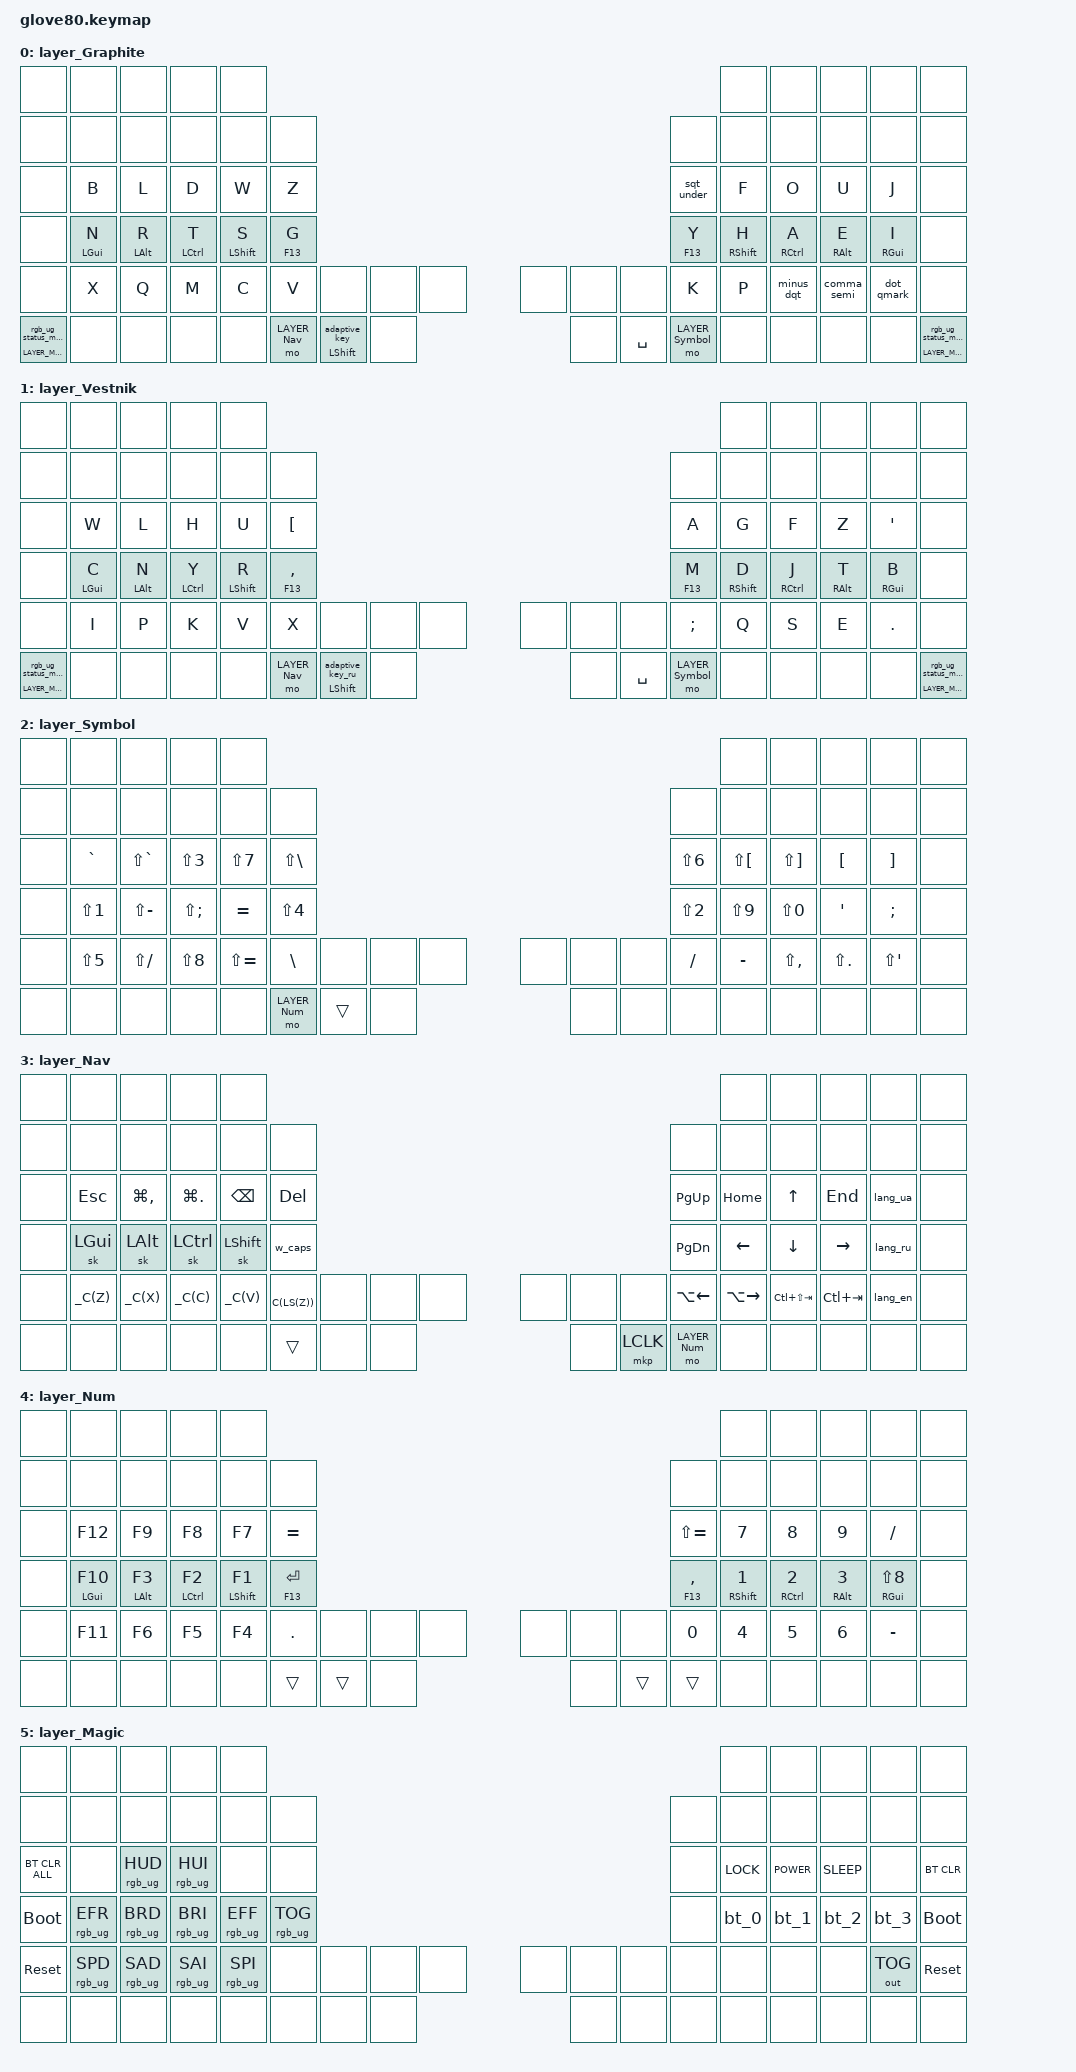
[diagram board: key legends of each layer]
/* Graphite + Vestnik — ZMK keymap. See README.md for full docs.
 *
 * Layers: Graphite(0) Vestnik(1) Symbol(2) Nav(3) Num(4) Magic(5)
 * HRM: GACS — GUI(pinky) ALT(ring) CTL(mid) SFT(index) F13(inner)
 * Mod-morphs: '→_  -→"  ,→;  .→?
 *
 * Config:
 *   #define BILATERAL         — positional hold-tap (opt-in)
 *   #define OPERATING_SYSTEM  — 1=linux 2=macos 3=windows
 *
 * Adaptive key (★) — left thumb (tap=★, hold=⇧), 300ms window, default: "
 *   SFBs:    R→L  G→S  U→E  E→U  S→C  H→Y  P→H  O→A  W→S  Y→H
 *   Suffixes: A→TION C→TION D→ITION F→Y I→ON J→UST L→ATION
 *             M→ENT N→ION Q→UEN T→MENT V→ER B→LE Z→ATION
 *   Other:   SPC→THE  .→./  /→block-comment  #→#include
 */

#include <behaviors.dtsi>
#include <dt-bindings/zmk/outputs.h>
#include <dt-bindings/zmk/keys.h>
#include <dt-bindings/zmk/bt.h>
#include <dt-bindings/zmk/rgb.h>

#define LAYER_Graphite 0
#define LAYER_Vestnik  1
#define LAYER_Symbol   2
#define LAYER_Nav      3
#define LAYER_Num      4
#define LAYER_Magic    5

#ifndef OPERATING_SYSTEM
#define OPERATING_SYSTEM 1 // 1=linux, 2=macos, 3=windows
#endif

#if OPERATING_SYSTEM == 2
    #define _C      LG
    #define _POWER  K_POWER
    #define _HOME   _C(LEFT)
    #define _END    _C(RIGHT)
    #define _LOCK   _C(LC(Q))
#elif OPERATING_SYSTEM == 1
    #define _C      LC
    #define _POWER  C_POWER
    #define _HOME   HOME
    #define _END    END
    #define _LOCK   K_LOCK
#elif OPERATING_SYSTEM == 3
    #define _C      LC
    #define _POWER  C_POWER
    #define _HOME   HOME
    #define _END    END
    #define _LOCK   LG(L)
#endif

#define _SLEEP C_SLEEP

// en-US shifted symbol overrides (skipped by keymap-drawer)
#ifndef KEYMAP_DRAWER
#undef AMPS
#undef AT
#undef CARET
#undef COLON
#undef DLLR
#undef DQT
#undef EXCL
#undef GT
#undef HASH
#undef LBRC
#undef LPAR
#undef LT
#undef PIPE
#undef PLUS
#undef PRCNT
#undef QMARK
#undef RBRC
#undef RPAR
#undef STAR
#undef TILDE
#undef UNDER
#define AMPS  LS(N7)
#define AT    LS(N2)
#define CARET LS(N6)
#define COLON LS(SEMI)
#define DLLR  LS(N4)
#define DQT   LS(SQT)
#define EXCL  LS(N1)
#define GT    LS(DOT)
#define HASH  LS(N3)
#define LBRC  LS(LBKT)
#define LPAR  LS(N9)
#define LT    LS(COMMA)
#define PIPE  LS(BSLH)
#define PLUS  LS(EQUAL)
#define PRCNT LS(N5)
#define QMARK LS(FSLH)
#define RBRC  LS(RBKT)
#define RPAR  LS(N0)
#define STAR  LS(N8)
#define TILDE LS(GRAVE)
#define UNDER LS(MINUS)
#endif

// Key position groups for positional hold-tap
#define KEYS_L 23 24 25 26 27  35 36 37 38 39  47 48 49 50 51
#define KEYS_R 28 29 30 31 32  40 41 42 43 44  58 59 60 61 62
#define THUMBS 69 70 73 74

// #define BILATERAL
#define ALPHA_LAYERS LAYER_Graphite LAYER_Vestnik
#define COMBO_TIMEOUT_MS 75

#define AK(name, k, b) \
    name { trigger-keys = <k>; max-prior-idle-ms = <300>; bindings = <b>; };

#include <zmk-helpers/helper.h>
#include <dt-bindings/zmk/mouse.h>

&sk {
    release-after-ms = <1200>;
    quick-release;
    ignore-modifiers;
};

/ {
    macros {
        rgb_ug_status_macro: rgb_ug_status_macro {
            label = "RGB_UG_STATUS";
            compatible = "zmk,behavior-macro";
            #binding-cells = <0>;
            bindings = <&rgb_ug RGB_STATUS>;
        };

        lang_en: lang_en {
            compatible = "zmk,behavior-macro";
            #binding-cells = <0>;
            bindings = <&to LAYER_Graphite>, <&kp LC(LS(LG(N1)))>;
        };

        lang_ru: lang_ru {
            compatible = "zmk,behavior-macro";
            #binding-cells = <0>;
            bindings = <&to LAYER_Vestnik>, <&kp LC(LS(LG(N2)))>;
        };

        lang_ua: lang_ua {
            compatible = "zmk,behavior-macro";
            #binding-cells = <0>;
            bindings = <&to LAYER_Vestnik>, <&kp LC(LS(LG(N3)))>;
        };

    };

    behaviors {
        adaptive_key: adaptive_key {
            compatible = "zmk,behavior-adaptive-key";
            #binding-cells = <0>;
            bindings = <&key_repeat>;
            // SFB fixes
            AK(ak_r, R, &kp L)       // rl 0.114%
            AK(ak_g, G, &kp S)       // gs 0.102%
            AK(ak_u, U, &kp E)       // ue 0.090%
            AK(ak_e, E, &kp U)       // eu
            AK(ak_s, S, &kp C)       // sc 0.087%
            AK(ak_h, H, &kp Y)       // hy 0.051%
            AK(ak_p, P, &kp H)       // ph
            AK(ak_f, F, &kp Y)       // fy
            AK(ak_o, O, &kp A)       // oa 0.042%
            AK(ak_w, W, &kp S)       // ws 0.042%
            AK(ak_y, Y, &kp H)       // yh
            // Completions
            AK(ak_a, A, &macro_tion)    // ation
            AK(ak_c, C, &macro_tion)    // ction
            AK(ak_d, D, &macro_ition)   // dition
            AK(ak_i, I, &macro_on)      // ion
            AK(ak_j, J, &macro_ust)     // just
            AK(ak_l, L, &macro_ation)   // lation
            AK(ak_m, M, &macro_ent)     // ment
            AK(ak_n, N, &macro_ion)     // nion
            AK(ak_q, Q, &macro_uen)     // quen
            AK(ak_t, T, &macro_ment)    // tment
            AK(ak_v, V, &macro_er)      // ver
            AK(ak_b, B, &macro_le)      // ble
            AK(ak_z, Z, &macro_ation)   // zation
            AK(ak_spc, SPACE, &macro_the)
            AK(ak_dot, DOT, &macro_dotslash)
            // Programming
            AK(ak_fslh, FSLH, &macro_block_comment)  // /★ → /* | */
            AK(ak_hash, HASH, &macro_include)         // #★ → #include
        };

        adaptive_key_ru: adaptive_key_ru {
            compatible = "zmk,behavior-adaptive-key";
            #binding-cells = <0>;
            bindings = <&key_repeat>;
            // SFB fixes (Vestnik finger conflicts)
            AK(ak_ru_h, H, &kp Y)    // Р★ → Н (рн 0.155%)
            AK(ak_ru_y, Y, &kp H)    // Н★ → Р (нр)
            AK(ak_ru_p, P, &kp L)    // З★ → Д (зд 0.115%)
            AK(ak_ru_x, X, &kp R)    // Ч★ → К (чк 0.072%)
            AK(ak_ru_k, K, &kp Y)    // Л★ → Н (лн 0.054%)
        };

        adaptive_shift: adaptive_shift {
            compatible = "zmk,behavior-hold-tap";
            label = "ADAPTIVE_SHIFT";
            #binding-cells = <2>;
            flavor = "balanced";
            tapping-term-ms = <200>;
            bindings = <&kp>, <&adaptive_key>;
        };

        adaptive_shift_ru: adaptive_shift_ru {
            compatible = "zmk,behavior-hold-tap";
            label = "ADAPTIVE_SHIFT_RU";
            #binding-cells = <2>;
            flavor = "balanced";
            tapping-term-ms = <200>;
            bindings = <&kp>, <&adaptive_key_ru>;
        };

        magic: magic {
            compatible = "zmk,behavior-hold-tap";
            label = "MAGIC_HOLD_TAP";
            #binding-cells = <2>;
            flavor = "tap-preferred";
            tapping-term-ms = <200>;
            bindings = <&mo>, <&rgb_ug_status_macro>;
        };

        hml: home_row_mod_left {
            compatible = "zmk,behavior-hold-tap";
            label = "HOME_ROW_MOD_LEFT";
            #binding-cells = <2>;
            flavor = "balanced";
            tapping-term-ms = <280>;
            quick-tap-ms = <175>;
            require-prior-idle-ms = <150>;
#ifdef BILATERAL
            hold-trigger-key-positions = <KEYS_R THUMBS>;
            hold-trigger-on-release;
#endif
            bindings = <&kp>, <&kp>;
        };

        hmr: home_row_mod_right {
            compatible = "zmk,behavior-hold-tap";
            label = "HOME_ROW_MOD_RIGHT";
            #binding-cells = <2>;
            flavor = "balanced";
            tapping-term-ms = <280>;
            quick-tap-ms = <175>;
            require-prior-idle-ms = <150>;
#ifdef BILATERAL
            hold-trigger-key-positions = <KEYS_L THUMBS>;
            hold-trigger-on-release;
#endif
            bindings = <&kp>, <&kp>;
        };

        w_caps: capsword_and_capslock {
            compatible = "zmk,behavior-mod-morph";
            label = "CAPSWORD_AND_CAPSLOCK";
            #binding-cells = <0>;
            bindings = <&caps_word>, <&kp CAPS>;
            mods = <(MOD_LSFT|MOD_RSFT)>;
        };

        sqt_under: sqt_and_under {
            compatible = "zmk,behavior-mod-morph";
            label = "SQT_AND_UNDER";
            #binding-cells = <0>;
            bindings = <&kp SQT>, <&kp UNDER>;
            mods = <(MOD_LSFT|MOD_RSFT)>;
        };

        minus_dqt: minus_and_dqt {
            compatible = "zmk,behavior-mod-morph";
            label = "MINUS_AND_DQT";
            #binding-cells = <0>;
            bindings = <&kp MINUS>, <&kp DQT>;
            mods = <(MOD_LSFT|MOD_RSFT)>;
        };

        comma_semi: comma_and_semi {
            compatible = "zmk,behavior-mod-morph";
            label = "COMMA_AND_SEMI";
            #binding-cells = <0>;
            bindings = <&kp COMMA>, <&kp SEMI>;
            mods = <(MOD_LSFT|MOD_RSFT)>;
        };

        dot_qmark: dot_and_qmark {
            compatible = "zmk,behavior-mod-morph";
            label = "DOT_AND_QMARK";
            #binding-cells = <0>;
            bindings = <&kp DOT>, <&kp QMARK>;
            mods = <(MOD_LSFT|MOD_RSFT)>;
        };

        bspc_del: bspc_and_del {
            compatible = "zmk,behavior-mod-morph";
            #binding-cells = <0>;
            bindings = <&kp BSPC>, <&kp DEL>;
            mods = <(MOD_LSFT|MOD_RSFT)>;
        };

        behavior_caps_word {
            continue-list = <
                UNDERSCORE MINUS
                BACKSPACE DELETE
                N1 N2 N3 N4 N5 N6 N7 N8 N9 N0
            >;
        };
    };
};

// Fast macros (zmk-helpers handles #binding-cells)
ZMK_MACRO(macro_tion,          wait-ms = <0>; tap-ms = <0>; bindings = <&kp T>, <&kp I>, <&kp O>, <&kp N>;)
ZMK_MACRO(macro_ition,         wait-ms = <0>; tap-ms = <0>; bindings = <&kp I>, <&kp T>, <&kp I>, <&kp O>, <&kp N>;)
ZMK_MACRO(macro_ation,         wait-ms = <0>; tap-ms = <0>; bindings = <&kp A>, <&kp T>, <&kp I>, <&kp O>, <&kp N>;)
ZMK_MACRO(macro_on,            wait-ms = <0>; tap-ms = <0>; bindings = <&kp O>, <&kp N>;)
ZMK_MACRO(macro_ion,           wait-ms = <0>; tap-ms = <0>; bindings = <&kp I>, <&kp O>, <&kp N>;)
ZMK_MACRO(macro_ent,           wait-ms = <0>; tap-ms = <0>; bindings = <&kp E>, <&kp N>, <&kp T>;)
ZMK_MACRO(macro_ment,          wait-ms = <0>; tap-ms = <0>; bindings = <&kp M>, <&kp E>, <&kp N>, <&kp T>;)
ZMK_MACRO(macro_le,            wait-ms = <0>; tap-ms = <0>; bindings = <&kp L>, <&kp E>;)
ZMK_MACRO(macro_ust,           wait-ms = <0>; tap-ms = <0>; bindings = <&kp U>, <&kp S>, <&kp T>;)
ZMK_MACRO(macro_uen,           wait-ms = <0>; tap-ms = <0>; bindings = <&kp U>, <&kp E>, <&kp N>;)
ZMK_MACRO(macro_er,            wait-ms = <0>; tap-ms = <0>; bindings = <&kp E>, <&kp R>;)
ZMK_MACRO(macro_the,           wait-ms = <0>; tap-ms = <0>; bindings = <&kp T>, <&kp H>, <&kp E>;)
ZMK_MACRO(macro_dotslash,      wait-ms = <0>; tap-ms = <0>; bindings = <&kp DOT>, <&kp FSLH>;)
ZMK_MACRO(macro_include,       wait-ms = <0>; tap-ms = <0>; bindings = <&kp I>, <&kp N>, <&kp C>, <&kp L>, <&kp U>, <&kp D>, <&kp E>, <&kp SPC>;)
ZMK_MACRO(macro_block_comment, wait-ms = <0>; tap-ms = <0>; bindings = <&kp STAR>, <&kp SPC>, <&kp SPC>, <&kp STAR>, <&kp FSLH>, <&kp LEFT>, <&kp LEFT>, <&kp LEFT>;)

// BT macros
ZMK_MACRO(bt_0, bindings = <&out OUT_BLE>, <&bt BT_SEL 0>;)
ZMK_MACRO(bt_1, bindings = <&out OUT_BLE>, <&bt BT_SEL 1>;)
ZMK_MACRO(bt_2, bindings = <&out OUT_BLE>, <&bt BT_SEL 2>;)
ZMK_MACRO(bt_3, bindings = <&out OUT_BLE>, <&bt BT_SEL 3>;)

// Combos
#undef COMBO_TERM
#define COMBO_TERM COMBO_TIMEOUT_MS
ZMK_COMBO(esc,       &kp ESC,   48 49, ALPHA_LAYERS)
ZMK_COMBO(tab,       &kp TAB,   49 50, ALPHA_LAYERS)
ZMK_COMBO(enter,     &kp RET,   59 60, ALPHA_LAYERS)
ZMK_COMBO(bspc,      &bspc_del, 60 61, ALPHA_LAYERS)
ZMK_COMBO(shcha,     &kp O,     31 32, LAYER_Vestnik)
ZMK_COMBO(yo,        &kp GRAVE, 32 44, LAYER_Vestnik)
ZMK_COMBO(hard_sign, &kp RBKT,  44 62, LAYER_Vestnik)

/ {
    keymap {
        compatible = "zmk,keymap";

/*  Graphite — home row mods (GACS) + magic thumb (★/⇧)
 *  ╭────────────────────╮ ╭────────────────────╮
 *  │  B   L   D   W   Z │ │ '_  F   O   U   J  │
 *  │  N   R   T   S   G │ │ Y   H   A   E   I  │
 *  │    GUI ALT CTL SFT F13  F13 SFT CTL ALT GUI │
 *  │  X   Q   M   C   V │ │ K   P   -"  ,!  .? │
 *  ╰──────────╮NAV ★/⇧  │ │ SPC SYM╭───────────╯
 *             ╰──────────╯ ╰────────╯            */
        layer_Graphite {
            bindings = <
     &none   &none   &none   &none          &none                                                                                           &none          &none          &none          &none          &none
     &none   &none   &none   &none          &none          &none                                                                    &none   &none          &none          &none          &none          &none
     &none   &kp B   &kp L   &kp D          &kp W          &kp Z                                                       &sqt_under   &kp F          &kp O          &kp U          &kp J          &none
     &none   &hml LGUI N   &hml LALT R   &hml LCTRL T   &hml LSHFT S   &hml F13 G                                         &hmr F13 Y   &hmr RSHFT H   &hmr RCTRL A   &hmr RALT E   &hmr RGUI I   &none
     &none   &kp X   &kp Q   &kp M          &kp C          &kp V   &none   &none   &none   &none   &none   &none   &kp K   &kp P    &minus_dqt   &comma_semi        &dot_qmark          &none
     &magic LAYER_Magic 0   &none   &none   &none   &none   &mo LAYER_Nav   &adaptive_shift LSHFT 0   &none   &none   &kp SPC   &mo LAYER_Symbol   &none   &none   &none   &none   &magic LAYER_Magic 0
            >;
        };

/*  Vestnik — Cyrillic via ЙЦУКЕН keycodes + magic thumb (★/⇧)
 *  ╭────────────────────╮ ╭────────────────────╮
 *  │  Ц   Д   Р   Г   Х │ │ Ф   П   А   Я   Э │
 *  │  С   Т   Н   К   Б │ │ Ь   В   О   Е   И │
 *  │    GUI ALT CTL SFT F13  F13 SFT CTL ALT GUI │
 *  │  Ш   З   Л   М   Ч │ │ Ж   Й   Ы   У   Ю │
 *  ╰──────────╮NAV ★/⇧  │ │ SPC SYM╭───────────╯
 *             ╰──────────╯ ╰────────╯            */
        layer_Vestnik {
            bindings = <
     &none     &none     &none     &none          &none                                                                                              &none          &none          &none          &none          &none
     &none     &none     &none     &none          &none          &none                                                                       &none   &none          &none          &none          &none          &none
     &none     &kp W     &kp L     &kp H          &kp U       &kp LBKT                                                                      &kp A   &kp G          &kp F          &kp Z        &kp SQT          &none
     &none   &hml LGUI C   &hml LALT N   &hml LCTRL Y   &hml LSHFT R   &hml F13 COMMA                                       &hmr F13 M   &hmr RSHFT D   &hmr RCTRL J   &hmr RALT T   &hmr RGUI B   &none
     &none     &kp I     &kp P     &kp K          &kp V          &kp X   &none   &none   &none   &none   &none   &none   &kp SEMI   &kp Q   &kp S          &kp E        &kp DOT          &none
     &magic LAYER_Magic 0   &none   &none   &none   &none   &mo LAYER_Nav   &adaptive_shift_ru LSHFT 0   &none   &none   &kp SPC   &mo LAYER_Symbol   &none   &none   &none   &none   &magic LAYER_Magic 0
            >;
        };

/*  Symbol — all symbols, activated by right outer thumb (74)
 *  ╭────────────────────╮ ╭────────────────────╮
 *  │  `   ~   #   &   | │ │ ^   {   }   [   ]  │
 *  │  !   _   :   =   $ │ │ @   (   )   '   ;  │
 *  │  %   ?   *   +   \ │ │ /   -   <   >   "  │
 *  ╰──────────╮NUM  ▽   │ │ ✕  [SYM]╭──────────╯
 *             ╰──────────╯ ╰─────────╯           */
        layer_Symbol {
            bindings = <
     &none      &none      &none      &none      &none                                                                                          &none       &none       &none      &none      &none
     &none      &none      &none      &none      &none      &none                                                                       &none   &none       &none       &none      &none      &none
     &none  &kp GRAVE  &kp TILDE   &kp HASH   &kp AMPS   &kp PIPE                                                                  &kp CARET   &kp LBRC   &kp RBRC  &kp LBKT  &kp RBKT      &none
     &none   &kp EXCL  &kp UNDER  &kp COLON  &kp EQUAL   &kp DLLR                                                                     &kp AT   &kp LPAR   &kp RPAR    &kp SQT   &kp SEMI      &none
     &none  &kp PRCNT  &kp QMARK   &kp STAR   &kp PLUS   &kp BSLH   &none   &none   &none   &none   &none   &none   &kp FSLH  &kp MINUS      &kp LT     &kp GT    &kp DQT      &none
     &none      &none      &none      &none      &none   &mo LAYER_Num      &trans   &none   &none      &none      &none   &none      &none      &none      &none      &none
            >;
        };

/*  Nav — L: edit + sticky mods, R: arrows + browser/tab + lang
 *  ╭────────────────────────╮ ╭────────────────────────╮
 *  │ Esc  W←   W→   ⌫    ⌦ │ │PgUp Home  ↑   End  UA │
 *  │ sk❖ sk⌥  sk⌃  sk⇧  CW │ │PgDn  ←    ↓    →   RU │
 *  │Undo Cut  Copy Pste Rdo │ │ B←   B→   T←   T→  EN │
 *  ╰──────────╮[NAV] ___    │ │ M1  NUM ╭──────────────╯
 *             ╰──────────────╯ ╰─────────╯               */
        layer_Nav {
            bindings = <
     &none      &none      &none      &none      &none                                                                                                     &none       &none      &none       &none       &none
     &none      &none      &none      &none      &none          &none                                                                              &none   &none       &none      &none       &none       &none
     &none    &kp ESC  &kp LG(COMMA)  &kp LG(DOT)  &kp BSPC    &kp DEL                                                                       &kp PG_UP   &kp _HOME    &kp UP     &kp _END    &lang_ua       &none
     &none   &sk LGUI   &sk LALT   &sk LCTRL  &sk LSHFT   &w_caps                                                                          &kp PG_DN    &kp LEFT  &kp DOWN   &kp RIGHT    &lang_ru       &none
     &none  &kp _C(Z)  &kp _C(X)  &kp _C(C)  &kp _C(V)  &kp _C(LS(Z))   &none   &none   &none   &none   &none   &none  &kp LA(LEFT)  &kp LA(RIGHT)  &kp LC(LS(TAB))  &kp LC(TAB)   &lang_en       &none
     &none      &none      &none      &none      &none         &trans      &none   &none   &none   &mkp LCLK   &mo LAYER_Num   &none      &none      &none       &none       &none
            >;
        };

/*  Num — L: F-keys + HRM, R: numpad + HRM (1-3 home row)
 *  ╭────────────────────────╮ ╭────────────────────────╮
 *  │ F12  F9   F8   F7   = │ │  +   7   8   9   /    │
 *  │❖F10 ⌥F3  ⌃F2  ⇧F1  ↵ │ │  ,  ⇧1  ⌃2  ⌥3  ❖*   │
 *  │ F11  F6   F5   F4   . │ │  0   4   5   6   -    │
 *  ╰──────────╮  ▽    ▽    │ │  ▽    ▽ ╭──────────────╯
 *             ╰─────────────╯ ╰─────────╯              */
        layer_Num {
            bindings = <
     &none      &none      &none      &none      &none                                                                                             &none       &none       &none      &none      &none
     &none      &none      &none      &none      &none      &none                                                                          &none   &none       &none       &none      &none      &none
     &none    &kp F12     &kp F9     &kp F8     &kp F7  &kp EQUAL                                                                       &kp PLUS    &kp N7      &kp N8     &kp N9   &kp FSLH      &none
     &none  &hml LGUI F10  &hml LALT F3  &hml LCTRL F2  &hml LSHFT F1   &hml F13 RET                                       &hmr F13 COMMA  &hmr RSHFT N1  &hmr RCTRL N2  &hmr RALT N3  &hmr RGUI STAR      &none
     &none    &kp F11     &kp F6     &kp F5     &kp F4    &kp DOT   &none   &none   &none   &none   &none   &none     &kp N0     &kp N4      &kp N5     &kp N6  &kp MINUS      &none
     &none      &none      &none      &none      &none      &trans      &trans   &none   &none      &trans      &trans       &none      &none      &none      &none      &none
            >;
        };

        layer_Magic {
            bindings = <
          &none            &none            &none            &none            &none                                                                                  &none       &none       &none         &none        &none
          &none            &none            &none            &none            &none            &none                                                      &none      &none       &none       &none         &none        &none
 &bt BT_CLR_ALL            &none  &rgb_ug RGB_HUD  &rgb_ug RGB_HUI            &none            &none                                                      &none  &kp _LOCK  &kp _POWER  &kp _SLEEP         &none   &bt BT_CLR
    &bootloader  &rgb_ug RGB_EFR  &rgb_ug RGB_BRD  &rgb_ug RGB_BRI  &rgb_ug RGB_EFF  &rgb_ug RGB_TOG                                                      &none      &bt_0       &bt_1       &bt_2         &bt_3  &bootloader
     &sys_reset  &rgb_ug RGB_SPD  &rgb_ug RGB_SAD  &rgb_ug RGB_SAI  &rgb_ug RGB_SPI            &none   &none   &none   &none   &none   &none   &none      &none      &none       &none       &none  &out OUT_TOG   &sys_reset
          &none            &none            &none            &none            &none                    &none   &none   &none   &none   &none   &none                  &none       &none       &none         &none        &none
            >;
        };

    };
};
